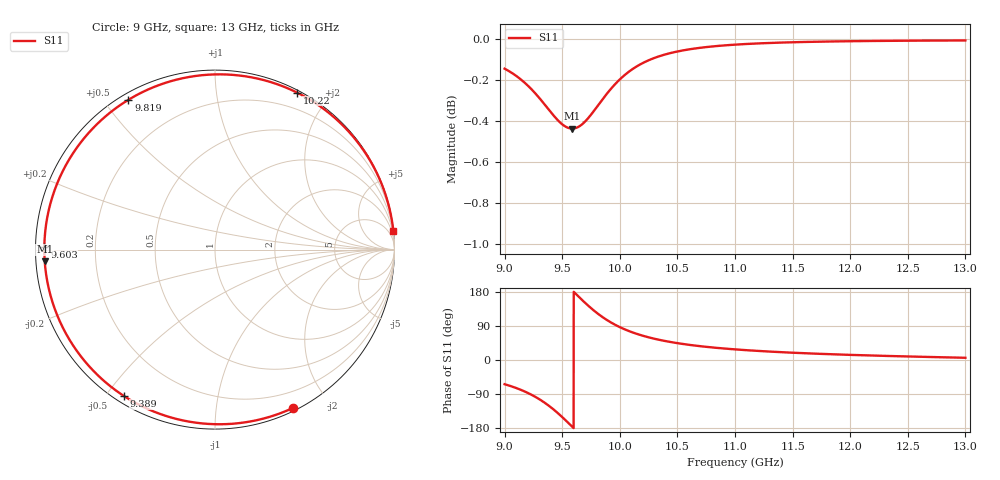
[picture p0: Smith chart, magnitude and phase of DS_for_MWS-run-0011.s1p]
! TOUCHSTONE file generated by CST DESIGN STUDIO
! Date and time: Tue Feb  4 13:33:53 2025
! Project name: C:\Work\MatlabApps\UnitCellOptimizationMatlab\CST\unitcell.cst
! Tree item: Tasks\Sweep1\SPara1\S-Parameters
! Header version: 2024
! Port assignment regex: !\s*Touchstone port\s*([0-9]+)\s*=\s*(CST MWS port|CST DES external port|CST DES block port)\s*(.+)\s* \(\"(.*)\"\)(\s*mode\s*([0-9]+))?.*
! Touchstone port assignment:
! Touchstone port 1 = CST DES external port 1 ("")
# GHz S MA R 50
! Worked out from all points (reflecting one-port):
!   4001 points, 9 GHz to 13 GHz, reference 50 ohm
!   lowest |S11| = -0.4 dB at 9.587 GHz (marker M1), VSWR 39.77, Z = 1.26 - j1.69 ohm
!   phase of S11 starts at -64 deg and turns -290 deg over the sweep
!   S11 on the Smith chart (normalised r, x): 9 GHz: 0.03, -1.60; 9.389 GHz: 0.03, -0.56; 9.603 GHz: 0.03, +0.01; 9.819 GHz: 0.02, +0.58; 10.22 GHz: 0.02, +1.65; 13 GHz: 0, +20
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9  0.9834 -63.9
9.049  0.9816 -68.5
9.119  0.9785 -76.1
9.238  0.9718 -92.5
9.318  0.9661 -106.7
9.389  0.9606 -121.9
9.444  0.9566 -135.4
9.5  0.9532 -150.5
9.545  0.9515 -163.6
9.587  0.9509 -176.1
9.603  0.951 179.1
9.648  0.9521 165.6
9.695  0.9545 151.9
9.757  0.9589 135.1
9.819  0.964 120.0
9.859  0.9674 111.3
9.902  0.9708 102.9
10  0.9775 86.8
10.104  0.9829 73.5
10.218  0.9871 62.4
10.348  0.9903 52.9
10.5  0.9929 44.5
10.72  0.9951 35.7
11  0.9967 28.0
11.5  0.998 19.2
12  0.9986 13.5
12.5  0.9989 9.3
13  0.999 5.9
